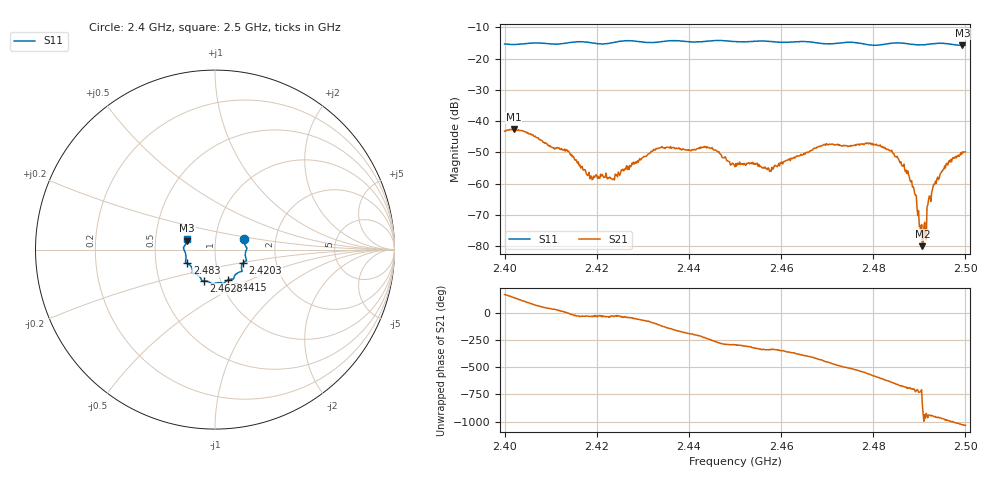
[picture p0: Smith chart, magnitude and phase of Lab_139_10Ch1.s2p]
# Hz S RI R 50
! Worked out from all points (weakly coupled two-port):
!   601 points, 2.4 GHz to 2.5 GHz, reference 50 ohm
!   highest |S21| = -42.56 dB at 2.402 GHz (marker M1); lowest = -80.0 dB at 2.4907 GHz (marker M2)
!   lowest |S11| = -15.8 dB at 2.4993 GHz (marker M3), VSWR 1.39, Z = 36.4 + j3.69 ohm
!   |S11| at or under -10 dB: start of sweep to end of sweep
!   S12 and S22 are empty: the file has one direction only
!   S11 on the Smith chart (normalised r, x): 2.4 GHz: 1.38, +0.16; 2.4203 GHz: 1.35, -0.21; 2.4415 GHz: 1.09, -0.38; 2.4628 GHz: 0.83, -0.30; 2.483 GHz: 0.73, -0.11; 2.5 GHz: 0.73, +0.09
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2.4e9  0.1621 0.0566  -0.0067 0.00165  0 0  0 0
2.402e9  0.164 0.0357  -0.00565 0.00485  0 0  0 0
2.4135e9  0.1715 -0.0466  0.00349 1.11e-05  0 0  0 0
2.416667e9  0.1755 -0.062  0.00152 -0.00101  0 0  0 0
2.420333e9  0.1559 -0.0747  0.00115 -0.000612  0 0  0 0
2.423333e9  0.1472 -0.1019  0.00101 -0.000596  0 0  0 0
2.433333e9  0.1082 -0.1481  -0.0013 -0.0034  0 0  0 0
2.4415e9  0.0731 -0.1687  -0.00314 0.00145  0 0  0 0
2.445333e9  0.0509 -0.187  -0.000683 0.00341  0 0  0 0
2.45e9  0.0295 -0.1844  0.000773 0.0017  0 0  0 0
2.457833e9  -0.0225 -0.1862  0.00143 0.000651  0 0  0 0
2.462833e9  -0.0625 -0.1743  0.0026 -0.000516  0 0  0 0
2.466667e9  -0.075 -0.1674  0.00223 -0.00262  0 0  0 0
2.483e9  -0.1541 -0.0765  -0.000323 0.00353  0 0  0 0
2.483333e9  -0.1564 -0.0754  -3.13e-05 0.00353  0 0  0 0
2.487833e9  -0.1625 -0.054  0.00115 0.00055  0 0  0 0
2.490667e9  -0.1644 -0.0214  -6.57e-05 -7.54e-05  0 0  0 0
2.491167e9  -0.1658 -0.0158  -0.000192 0.000146  0 0  0 0
2.492167e9  -0.1702 -0.00584  -0.000476 0.00042  0 0  0 0
2.4935e9  -0.1745 0.00413  -0.000648 0.000886  0 0  0 0
2.499333e9  -0.1551 0.0493  0.00206 0.00248  0 0  0 0
2.5e9  -0.1533 0.0579  0.00223 0.00233  0 0  0 0
